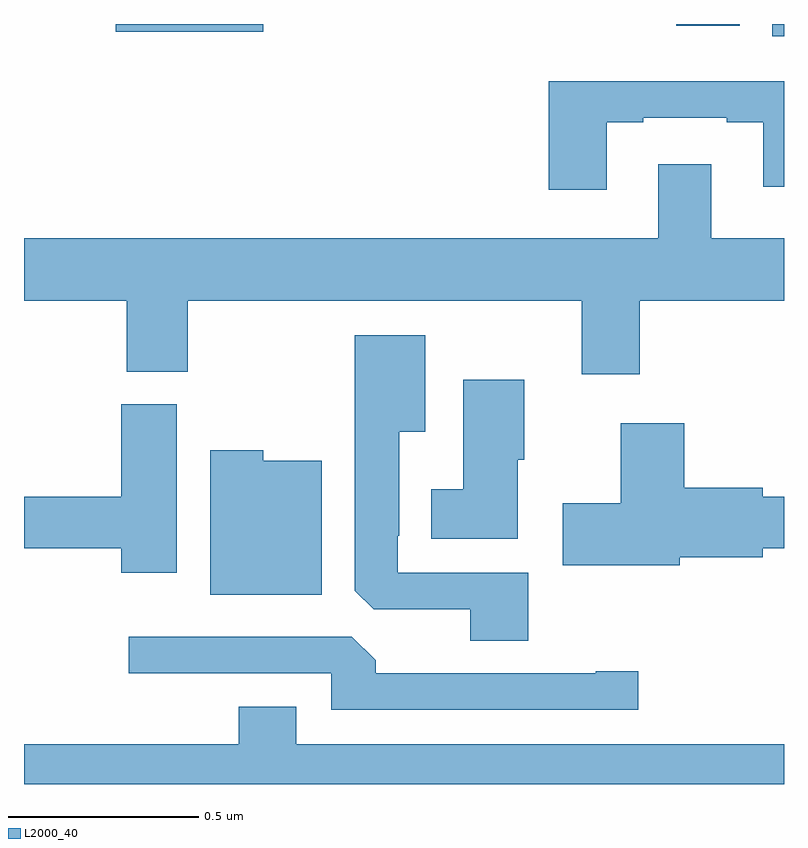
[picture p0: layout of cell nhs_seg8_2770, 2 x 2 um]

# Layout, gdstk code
import gdstk
lib = gdstk.Library(unit=1e-6, precision=1e-09)
def R(c, l, rs):  # rectangles x0, y0, x1, y1
    for r in rs: c.add(gdstk.rectangle(r[:2], r[2:], *l))
def P(c, l, *ps):  # polygons
    for p in ps: c.add(gdstk.Polygon(p, *l))
L2000_40 = (2000, 40)

nhs_seg8_2770 = lib.new_cell('nhs_seg8_2770')
R(nhs_seg8_2770, L2000_40, [(149.969,1111.868,150,1111.9), (148.242,1111.88,148.63,1111.9), (149.717,1111.896,149.884,1111.9)])
P(nhs_seg8_2770, L2000_40, [(149.533,1111.641),(149.629,1111.641),(149.629,1111.653),(149.849,1111.653),(149.849,1111.641),(149.945,1111.641),(149.945,1111.472),(150,1111.472),(150,1111.75),(149.381,1111.75),(149.381,1111.464),(149.533,1111.464)],
  [(149.621,1111.172),(150,1111.172),(150,1111.336),(149.809,1111.336),(149.809,1111.531),(149.669,1111.531),(149.669,1111.336),(148,1111.336),(148,1111.172),(148.271,1111.172),(148.271,1110.985),(148.431,1110.985),(148.431,1111.172),(149.468,1111.172),(149.468,1110.978),(149.621,1110.978)],
  [(149.327,1110.456),(148.983,1110.456),(148.983,1110.553),(148.987,1110.553),(148.987,1110.827),(149.056,1110.827),(149.056,1111.081),(148.871,1111.081),(148.871,1110.409),(148.92,1110.36),(149.174,1110.36),(149.174,1110.277),(149.327,1110.277)],
  [(149.299,1110.753),(149.317,1110.753),(149.317,1110.964),(149.156,1110.964),(149.156,1110.676),(149.072,1110.676),(149.072,1110.545),(149.299,1110.545)],
  [(148.402,1110.9),(148.256,1110.9),(148.256,1110.656),(148,1110.656),(148,1110.52),(148.256,1110.52),(148.256,1110.456),(148.402,1110.456)],
  [(149.725,1110.497),(149.944,1110.497),(149.944,1110.52),(150,1110.52),(150,1110.656),(149.944,1110.656),(149.944,1110.68),(149.738,1110.68),(149.738,1110.85),(149.57,1110.85),(149.57,1110.639),(149.418,1110.639),(149.418,1110.476),(149.725,1110.476)],
  [(148.783,1110.751),(148.629,1110.751),(148.629,1110.778),(148.49,1110.778),(148.49,1110.398),(148.783,1110.398)],
  [(149.617,1110.197),(149.504,1110.197),(149.504,1110.192),(148.925,1110.192),(148.925,1110.226),(148.863,1110.288),(148.275,1110.288),(148.275,1110.192),(148.809,1110.192),(148.809,1110.096),(149.617,1110.096)],
  [(150,1110.004),(148.717,1110.004),(148.717,1110.103),(148.565,1110.103),(148.565,1110.004),(148,1110.004),(148,1109.9),(150,1109.9)])

lib.write_gds('nhs_seg8_2770.gds')
